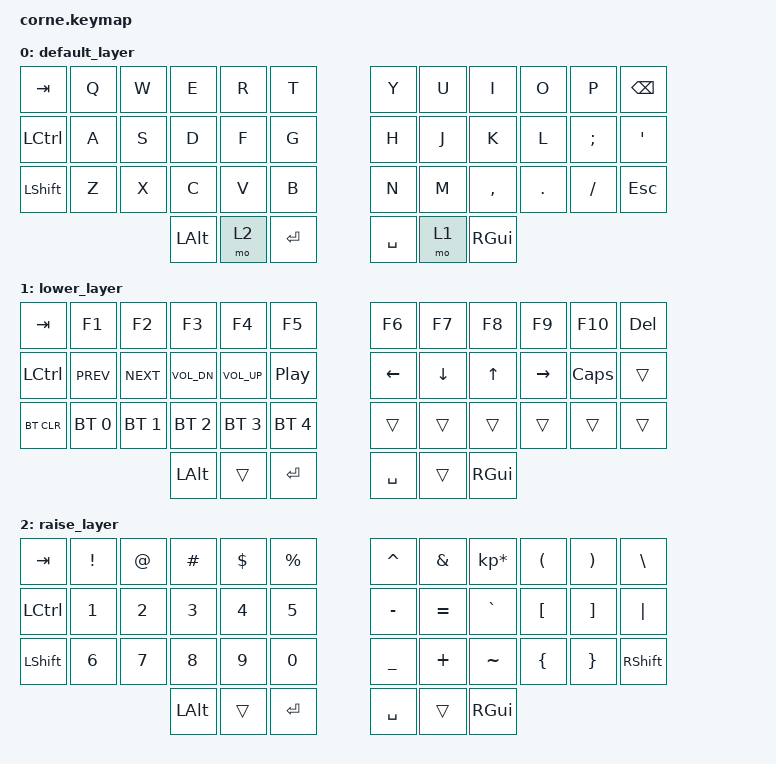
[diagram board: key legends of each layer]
/*
 * Copyright (c) 2020 The ZMK Contributors
 *
 * SPDX-License-Identifier: MIT
 */

#include <behaviors.dtsi>
#include <dt-bindings/zmk/keys.h>
#include <dt-bindings/zmk/bt.h>

/ {
        keymap {
                compatible = "zmk,keymap";

                default_layer {
// -----------------------------------------------------------------------------------------
// |  TAB |  Q  |  W  |  E  |  R  |  T  |   |  Y  |  U   |  I  |  O  |  P  | BKSP |
// | CTRL |  A  |  S  |  D  |  F  |  G  |   |  H  |  J   |  K  |  L  |  ;  |  '   |
// | SHFT |  Z  |  X  |  C  |  V  |  B  |   |  N  |  M   |  ,  |  .  |  /  | ESC  |
//                    | ALT | RSE | ENT |   | SPC | LWR  | GUI |
                        bindings = <
   &kp TAB   &kp Q &kp W &kp E &kp R &kp T   &kp Y &kp U  &kp I     &kp O   &kp P    &kp BSPC
   &kp LCTRL &kp A &kp S &kp D &kp F &kp G   &kp H &kp J  &kp K     &kp L   &kp SEMI &kp SQT
   &kp LSHFT &kp Z &kp X &kp C &kp V &kp B   &kp N &kp M  &kp COMMA &kp DOT &kp FSLH &kp ESC
                    &kp LALT &mo 2 &kp RET   &kp SPACE &mo 1 &kp RGUI
                        >;
                };

                lower_layer {
// -----------------------------------------------------------------------------------------
// |  TAB | F1  | F2  | F3   | F4   | F5        |   |  F6 |  F7 |  F8 |  F9 | F10 | DEL |
// | CTRL | PREV| NEXT| VOL -| VOL +| Play/Pause|   | LFT | DWN |  UP | RGT | CAPS|     |
// | BTCLR| BT1 | BT2 | BT3  | BT4  | BT5       |   |     |     |     |     |     |     |
//                    | ALT  |      | ENT       |   | SPC |     | GUI |
                        bindings = <
   &kp TAB    &kp F1       &kp F2       &kp F3       &kp F4       &kp F5         &kp F6   &kp F7   &kp F8 &kp F9    &kp F10  &kp DEL
   &kp LCTRL  &kp C_PREV   &kp C_NEXT   &kp C_VOL_DN &kp C_VOL_UP &kp C_PP       &kp LEFT &kp DOWN &kp UP &kp RIGHT &kp CAPS &trans
   &bt BT_CLR &bt BT_SEL 0 &bt BT_SEL 1 &bt BT_SEL 2 &bt BT_SEL 3 &bt BT_SEL 4   &trans   &trans   &trans &trans    &trans   &trans
                          	            &kp LALT     &trans       &kp RET        &kp SPACE  &trans   &kp RGUI
                        >;
                };

                raise_layer {
// -----------------------------------------------------------------------------------------
// |  TAB |  !  |  @  |  #  |  $  |  %  |   |  ^  |  &  |  *  |  (  |  )  |  \   |
// | CTRL |  1  |  2  |  3  |  4  |  5  |   |  -  |  =  |  `  |  [  |  ]  | "|"  |
// | SHFT |  6  |  7  |  8  |  9  |  0  |   |  _  |  +  |  ~  |  {  |  }  | SHFT |
//                    | ALT |     | ENT |   | SPC |     | GUI |
                        bindings = <
   &kp  TAB  &kp EXCL &kp AT &kp HASH &kp DLLR &kp PRCNT   &kp CARET &kp AMPS  &kp KP_MULTIPLY &kp LPAR &kp RPAR &kp BSLH
   &kp LCTRL &kp N1   &kp N2 &kp N3   &kp N4   &kp N5      &kp MINUS &kp EQUAL &kp GRAVE       &kp LBKT &kp RBKT &kp PIPE
   &kp LSHFT &kp N6   &kp N7 &kp N8   &kp N9   &kp N0      &kp UNDER &kp PLUS  &kp TILDE       &kp LBRC &kp RBRC &kp RSHFT
                    	     &kp LALT &trans   &kp RET     &kp SPACE &trans    &kp RGUI
                        >;
                };
        };
};
